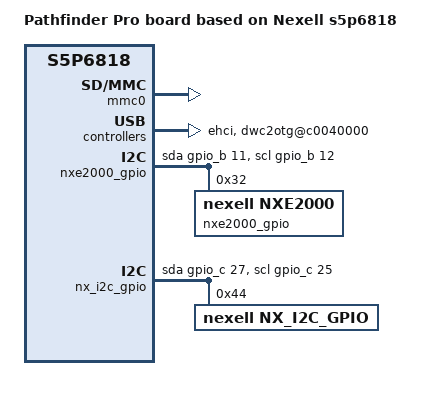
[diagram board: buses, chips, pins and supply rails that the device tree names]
/*
 * (C) Copyright 2016 Nexell
 * Hyejung Kwon <cjscld15@nexell.co.kr>
 *
 * SPDX-License-Identifier: GPL-2.0+
 */

/dts-v1/;
#include "s5p6818.dtsi"
#include "s5p6818-rookie-nxe2000.dtsi"

/ {
	model = "Pathfinder Pro board based on Nexell s5p6818";
	cpu-model = "S5p6818";

	compatible = "nexell,pf-pro", "nexell,s5p6818";

	mmc0:mmc@c0062000 {
		index = <0>;
		frequency = <50000000>;
		nexell,drive_dly = <0x0>;
		nexell,drive_shift = <0x03>;
		nexell,sample_dly = <0x00>;
		nexell,sample_shift = <0x02>;
		status = "okay";
	};

	ehci:usbhost@c0030000 {
		status = "okay";
	};

	dwc2otg@c0040000 {
		status = "okay";
	};

	nxe2000_gpio:i2c_gpio@0 {
		compatible = "i2c-gpio";
		#address-cells = <1>;
		#size-cells = <0>;
		gpios = <&gpio_b 11 1>,	/* SDA */
		      <&gpio_b 12 1>;	/* SCL */

		i2c-gpio,delay-us = <3>;
		nxe2000_gpio@32 {
			compatible = "nexell,nxe2000";
			reg = <0x32>;
		};
	};

	nx_i2c_gpio:i2c_gpio@5 {
		#address-cells = <1>;
		#size-cells = <0>;
		compatible = "i2c-gpio";
		gpios = <&gpio_c 27 0>,
			<&gpio_c 25 0>;
		i2c-gpio,delay-us = <1>;
		nx_i2c_gpio@44 {
			compatible = "nexell,nx_i2c_gpio";
			reg = <0x44>;
			sda_pad = <1>;
			scl_pad = <1>;
		};
	};
};

/*
&dp0 {
		status = "okay";
		module = <0>;
		lcd-type = "mipi";

	dp-device {
		hs_bitrate = <1000>;
		lp_bitrate = <80>;
	};

		dp-sync {
		h_active_len = <720>;
		h_front_porch = <100>;
		h_back_porch = <180>;
		h_sync_width = <4>;
		v_active_len = <1280>;
		v_front_porch = <30>;
		v_back_porch = <30>;
		v_sync_width = <4>;
	};

	dp-ctrl {
		clk_src_lv0 = <3>;
		clk_div_lv0 = <15>;
		clk_src_lv1 = <7>;
		clk_div_lv1 = <1>;
		out_format = <3>;
		vs_start_offset = <2387>;
		ev_start_offset = <2387>;
		vs_end_offset = <0>;
		ev_end_offset = <0>;
	};

	dp-planes {
		layer_top {
			screen_width = <720>;
			screen_height = <1280>;
			back_color = <0x0>;
		};

		layer_1 {	/ RGB 1 /
			width = <720>;
			height = <1280>;
			format = <0x06530000>;
			pixel_byte = <4>;
		};
	};
};
*/
